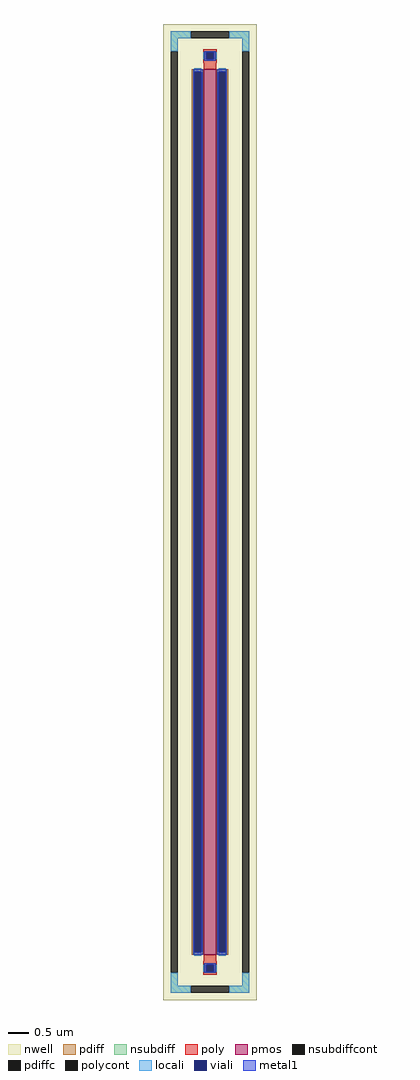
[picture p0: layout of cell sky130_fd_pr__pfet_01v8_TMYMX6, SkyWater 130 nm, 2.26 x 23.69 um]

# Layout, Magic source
magic
tech sky130A
magscale 1 2
<< nwell >>
rect -226 -2369 226 2369
<< pmos >>
rect -30 -2150 30 2150
<< pdiff >>
rect -88 2138 -30 2150
rect -88 -2138 -76 2138
rect -42 -2138 -30 2138
rect -88 -2150 -30 -2138
rect 30 2138 88 2150
rect 30 -2138 42 2138
rect 76 -2138 88 2138
rect 30 -2150 88 -2138
<< pdiffc >>
rect -76 -2138 -42 2138
rect 42 -2138 76 2138
<< nsubdiff >>
rect -190 2299 -94 2333
rect 94 2299 190 2333
rect -190 2237 -156 2299
rect 156 2237 190 2299
rect -190 -2299 -156 -2237
rect 156 -2299 190 -2237
rect -190 -2333 -94 -2299
rect 94 -2333 190 -2299
<< nsubdiffcont >>
rect -94 2299 94 2333
rect -190 -2237 -156 2237
rect 156 -2237 190 2237
rect -94 -2333 94 -2299
<< poly >>
rect -33 2231 33 2247
rect -33 2197 -17 2231
rect 17 2197 33 2231
rect -33 2181 33 2197
rect -30 2150 30 2181
rect -30 -2181 30 -2150
rect -33 -2197 33 -2181
rect -33 -2231 -17 -2197
rect 17 -2231 33 -2197
rect -33 -2247 33 -2231
<< polycont >>
rect -17 2197 17 2231
rect -17 -2231 17 -2197
<< locali >>
rect -190 2299 -94 2333
rect 94 2299 190 2333
rect -190 2237 -156 2299
rect 156 2237 190 2299
rect -33 2197 -17 2231
rect 17 2197 33 2231
rect -76 2138 -42 2154
rect -76 -2154 -42 -2138
rect 42 2138 76 2154
rect 42 -2154 76 -2138
rect -33 -2231 -17 -2197
rect 17 -2231 33 -2197
rect -190 -2299 -156 -2237
rect 156 -2299 190 -2237
rect -190 -2333 -94 -2299
rect 94 -2333 190 -2299
<< viali >>
rect -17 2197 17 2231
rect -76 -2138 -42 2138
rect 42 -2138 76 2138
rect -17 -2231 17 -2197
<< metal1 >>
rect -29 2231 29 2237
rect -29 2197 -17 2231
rect 17 2197 29 2231
rect -29 2191 29 2197
rect -82 2138 -36 2150
rect -82 -2138 -76 2138
rect -42 -2138 -36 2138
rect -82 -2150 -36 -2138
rect 36 2138 82 2150
rect 36 -2138 42 2138
rect 76 -2138 82 2138
rect 36 -2150 82 -2138
rect -29 -2197 29 -2191
rect -29 -2231 -17 -2197
rect 17 -2231 29 -2197
rect -29 -2237 29 -2231
<< properties >>
string FIXED_BBOX -173 -2316 173 2316
string gencell sky130_fd_pr__pfet_01v8
string library sky130
string parameters w 21.5 l 0.3 m 1 nf 1 diffcov 100 polycov 100 guard 1 glc 1 grc 1 gtc 1 gbc 1 tbcov 100 rlcov 100 topc 1 botc 1 poverlap 0 doverlap 1 lmin 0.15 wmin 0.42 compatible {sky130_fd_pr__pfet_01v8  sky130_fd_pr__pfet_01v8_lvt sky130_fd_pr__pfet_01v8_hvt  sky130_fd_pr__pfet_g5v0d10v5} full_metal 1 viasrc 100 viadrn 100 viagate 100 viagb 0 viagr 0 viagl 0 viagt 0
<< end >>
